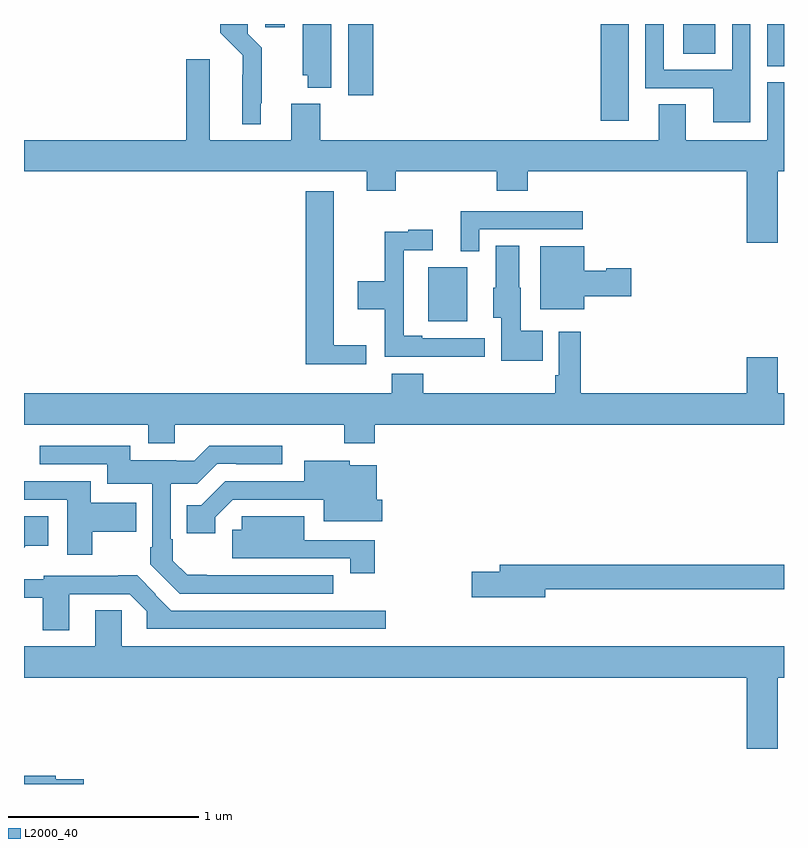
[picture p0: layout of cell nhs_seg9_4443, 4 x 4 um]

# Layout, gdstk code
import gdstk
lib = gdstk.Library(unit=1e-6, precision=1e-09)
def R(c, l, rs):  # rectangles x0, y0, x1, y1
    for r in rs: c.add(gdstk.rectangle(r[:2], r[2:], *l))
def P(c, l, *ps):  # polygons
    for p in ps: c.add(gdstk.Polygon(p, *l))
L2000_40 = (2000, 40)

nhs_seg9_4443 = lib.new_cell('nhs_seg9_4443')
R(nhs_seg9_4443, L2000_40, [(367.127,1224.935,367.333,1225.219), (368.036,1225.992,368.182,1226.5), (366.707,1226.124,366.839,1226.5), (368.912,1226.278,369,1226.5), (368.471,1226.344,368.638,1226.5), (366.269,1226.484,366.373,1226.5)])
P(nhs_seg9_4443, L2000_40, [(366.616,1226.5),(366.467,1226.5),(366.467,1226.229),(366.494,1226.229),(366.494,1226.165),(366.616,1226.165)],
  [(368.823,1226.5),(368.727,1226.5),(368.727,1226.259),(368.367,1226.259),(368.367,1226.5),(368.271,1226.5),(368.271,1226.163),(368.627,1226.163),(368.627,1225.982),(368.823,1225.982)],
  [(366.247,1226.083),(366.251,1226.083),(366.251,1226.374),(366.177,1226.448),(366.177,1226.5),(366.032,1226.5),(366.032,1226.454),(366.15,1226.336),(366.15,1226.234),(366.149,1226.234),(366.149,1225.973),(366.247,1225.973)],
  [(368.968,1225.724),(369,1225.724),(369,1226.193),(368.912,1226.193),(368.912,1225.888),(368.482,1225.888),(368.482,1226.078),(368.342,1226.078),(368.342,1225.888),(366.56,1225.888),(366.56,1226.08),(366.407,1226.08),(366.407,1225.888),(365.977,1225.888),(365.977,1226.314),(365.855,1226.314),(365.855,1225.888),(365,1225.888),(365,1225.724),(366.803,1225.724),(366.803,1225.622),(366.956,1225.622),(366.956,1225.724),(367.487,1225.724),(367.487,1225.622),(367.652,1225.622),(367.652,1225.724),(368.804,1225.724),(368.804,1225.35),(368.968,1225.35)],
  [(366.802,1224.809),(366.631,1224.809),(366.631,1225.621),(366.482,1225.621),(366.482,1224.71),(366.802,1224.71)],
  [(367.395,1225.419),(367.942,1225.419),(367.942,1225.515),(367.298,1225.515),(367.298,1225.304),(367.395,1225.304)],
  [(367.426,1224.846),(367.096,1224.846),(367.096,1224.859),(366.999,1224.859),(366.999,1225.308),(367.15,1225.308),(367.15,1225.417),(367.022,1225.417),(367.022,1225.406),(366.898,1225.406),(366.898,1225.146),(366.756,1225.146),(366.756,1224.998),(366.898,1224.998),(366.898,1224.75),(367.183,1224.75),(367.183,1224.749),(367.426,1224.749)],
  [(367.73,1224.886),(367.615,1224.886),(367.615,1225.113),(367.606,1225.113),(367.606,1225.334),(367.484,1225.334),(367.484,1225.113),(367.469,1225.113),(367.469,1224.954),(367.511,1224.954),(367.511,1224.728),(367.73,1224.728)],
  [(367.948,1225.067),(368.197,1225.067),(368.197,1225.214),(368.064,1225.214),(368.064,1225.201),(367.948,1225.201),(367.948,1225.33),(367.718,1225.33),(367.718,1224.998),(367.948,1224.998)],
  [(365.794,1224.392),(366.685,1224.392),(366.685,1224.293),(366.845,1224.293),(366.845,1224.392),(369,1224.392),(369,1224.556),(368.968,1224.556),(368.968,1224.745),(368.804,1224.745),(368.804,1224.556),(367.931,1224.556),(367.931,1224.88),(367.815,1224.88),(367.815,1224.652),(367.795,1224.652),(367.795,1224.556),(367.1,1224.556),(367.1,1224.658),(366.935,1224.658),(366.935,1224.556),(365,1224.556),(365,1224.392),(365.654,1224.392),(365.654,1224.293),(365.794,1224.293)],
  [(366.628,1223.598),(365.962,1223.598),(365.962,1223.601),(365.858,1223.601),(365.782,1223.676),(365.782,1223.788),(365.772,1223.788),(365.772,1224.081),(365.913,1224.081),(366.018,1224.186),(366.118,1224.186),(366.118,1224.183),(366.358,1224.183),(366.358,1224.28),(365.974,1224.28),(365.895,1224.201),(365.801,1224.201),(365.801,1224.205),(365.56,1224.205),(365.56,1224.279),(365.082,1224.279),(365.082,1224.183),(365.438,1224.183),(365.438,1224.08),(365.676,1224.08),(365.676,1223.746),(365.664,1223.746),(365.664,1223.657),(365.819,1223.502),(366.628,1223.502)],
  [(366.007,1223.905),(366.099,1223.997),(366.578,1223.997),(366.578,1223.882),(366.886,1223.882),(366.886,1223.996),(366.856,1223.996),(366.856,1224.178),(366.714,1224.178),(366.714,1224.202),(366.476,1224.202),(366.476,1224.093),(366.059,1224.093),(365.934,1223.968),(365.857,1223.968),(365.857,1223.82),(366.007,1223.82)],
  [(365.358,1223.828),(365.591,1223.828),(365.591,1223.98),(365.35,1223.98),(365.35,1224.093),(365,1224.093),(365,1223.997),(365.228,1223.997),(365.228,1223.706),(365.358,1223.706)],
  [(365.01,1223.753),(365.128,1223.753),(365.128,1223.908),(365,1223.908),(365,1223.743)],
  [(366.847,1223.784),(366.475,1223.784),(366.475,1223.908),(366.146,1223.908),(366.146,1223.838),(366.095,1223.838),(366.095,1223.687),(366.371,1223.687),(366.371,1223.688),(366.716,1223.688),(366.716,1223.61),(366.847,1223.61)],
  [(367.744,1223.526),(369,1223.526),(369,1223.654),(367.505,1223.654),(367.505,1223.618),(367.356,1223.618),(367.356,1223.483),(367.744,1223.483)],
  [(365.239,1223.499),(365.556,1223.499),(365.647,1223.409),(365.647,1223.316),(366.904,1223.316),(366.904,1223.412),(365.775,1223.412),(365.69,1223.497),(365.693,1223.5),(365.595,1223.598),(365.495,1223.598),(365.495,1223.595),(365.103,1223.595),(365.103,1223.577),(365,1223.577),(365,1223.481),(365.099,1223.481),(365.099,1223.31),(365.239,1223.31)],
  [(368.968,1223.06),(369,1223.06),(369,1223.224),(365.514,1223.224),(365.514,1223.414),(365.375,1223.414),(365.375,1223.224),(365,1223.224),(365,1223.06),(368.804,1223.06),(368.804,1222.686),(368.968,1222.686)],
  [(365.315,1222.524),(365.168,1222.524),(365.168,1222.544),(365,1222.544),(365,1222.5),(365.315,1222.5)])

lib.write_gds('nhs_seg9_4443.gds')
